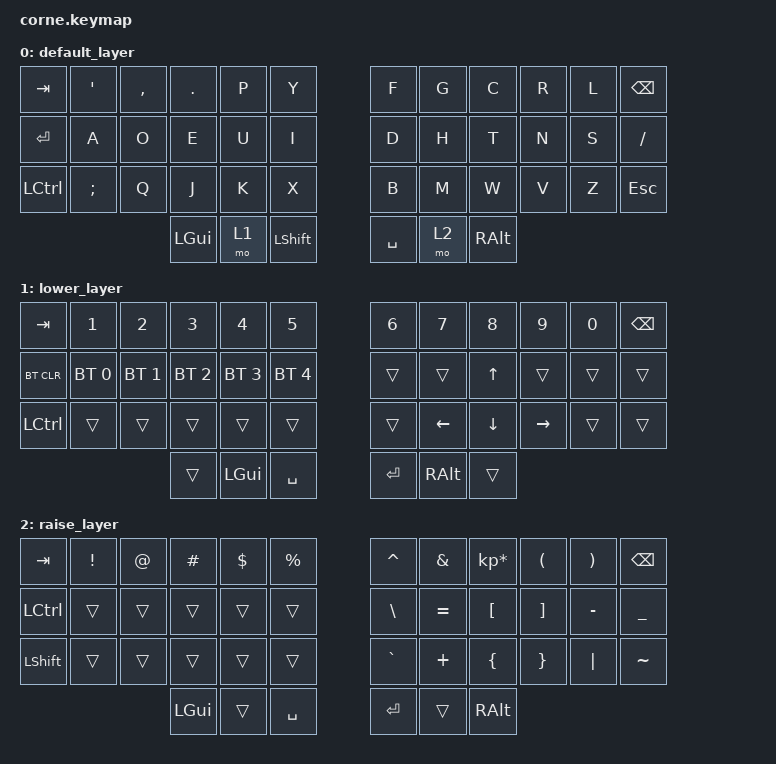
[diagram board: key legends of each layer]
/*
 * Copyright (c) 2020 The ZMK Contributors
 *
 * SPDX-License-Identifier: MIT
 */

#include <behaviors.dtsi>
#include <dt-bindings/zmk/keys.h>
#include <dt-bindings/zmk/bt.h>

/ {
        keymap {
                compatible = "zmk,keymap";

                default_layer {
// -----------------------------------------------------------------------------------------
// |  TAB |  '  |  ,  |  .  |  P  |  Y  |   |  F  |  G   |  C  |  R  |  L  | BKSP |
// | ENT |  A  |  O  |  E  |  U  |  I  |   |  D  |  H   |  T  |  N  |  S  |  /   |
// |  CTRL |  :  |  Q  |  J  |  K  |  X  |   |  B  |  M   |  W  |  V  |  Z  | ESC  |
//                    | GUI | LWR | SHFT |   | SPC | RSE | ALT |
                        bindings = <
   &kp TAB   &kp SQT  &kp COMMA &kp DOT &kp P &kp Y     &kp F   &kp G  &kp C     &kp R   &kp L &kp BSPC
   &kp RET &kp A    &kp O &kp E &kp U &kp I           &kp D   &kp H  &kp T     &kp N   &kp S &kp FSLH
   &kp LCTRL &kp SEMI &kp Q &kp J &kp K &kp X           &kp B   &kp M  &kp W     &kp V &kp Z &kp ESC
                 &kp LGUI &mo 1  &kp LSHFT              &kp SPACE  &mo 2 &kp RALT
                        >;
                };
                lower_layer {
// -----------------------------------------------------------------------------------------
// |  TAB |  1  |  2  |  3  |  4  |  5  |   |  6  |  7  |  8  |  9  |  0  | BKSP |
// | BTCLR| BT1 | BT2 | BT3 | BT4 | BT5 |   |     |     | UP |     |     |    |
// | CTRL |     |     |     |     |     |   |     | LFT  | DWN | RGT  |     |     |
//                    |  |   GUI  | SHFT |   | SPC |  ALT   |  |
                        bindings = <
   &kp TAB    &kp N1       &kp N2       &kp N3       &kp N4       &kp N5         &kp N6   &kp N7   &kp N8 &kp N9    &kp N0 &kp BSPC
   &bt BT_CLR &bt BT_SEL 0 &bt BT_SEL 1 &bt BT_SEL 2 &bt BT_SEL 3 &bt BT_SEL 4   &trans &trans &kp UP  &trans &trans  &trans
   &kp LCTRL  &trans       &trans       &trans       &trans       &trans         &trans  &kp LEFT   &kp DOWN  &kp RIGHT    &trans &trans
                           &trans  &kp LGUI     &kp SPACE      &kp RET  &kp RALT  &trans
                        >;
                };

                raise_layer {
// -----------------------------------------------------------------------------------------
// |  TAB |  !  |  @  |  #  |  $  |  %  |   |  ^  |  &  |  *  |  (  |  )  | BKSP |
// | CTRL |     |     |     |     |     |   |  \  |  =  |  [  |  ]  |  -  |  _   |
// | SHFT |     |     |     |     |     |   |  `  |  +  |  {  |  }  | "|" |  ~   |
//                    | GUI |     | SPC |   | ENT |     | ALT |
                        bindings = <
   &kp  TAB  &kp EXCL &kp AT &kp HASH &kp DLLR &kp PRCNT   &kp CARET &kp AMPS  &kp KP_MULTIPLY &kp LPAR &kp RPAR &kp BSPC
   &kp LCTRL &trans   &trans &trans   &trans   &trans      &kp BSLH &kp EQUAL &kp LBKT        &kp RBKT &kp MINUS &kp UNDER
   &kp LSHFT &trans   &trans &trans   &trans   &trans      &kp GRAVE &kp PLUS  &kp LBRC        &kp RBRC &kp PIPE &kp TILDE
                             &kp LGUI &trans   &kp SPACE   &kp RET   &trans    &kp RALT
                        >;
                };
        };
};
